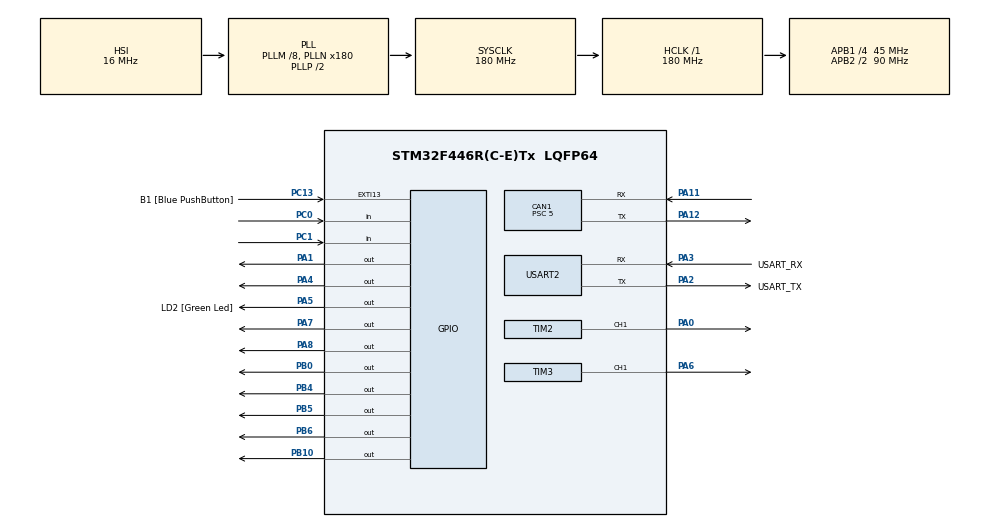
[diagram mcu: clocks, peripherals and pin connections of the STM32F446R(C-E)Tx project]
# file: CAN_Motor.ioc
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CAN1.BS1=CAN_BS1_15TQ
CAN1.BS2=CAN_BS2_2TQ
CAN1.CalculateBaudRate=500000
CAN1.CalculateTimeBit=2000
CAN1.CalculateTimeQuantum=111.11111111111111
CAN1.Mode=CAN_MODE_NORMAL
CAN1.NART=ENABLE
CAN1.Prescaler=5
FREERTOS.Queues01=EventQueue,8,uint8_t,0,Dynamic,NULL,NULL
FREERTOS.Tasks01=defaultTask,24,128,StartDefaultTask,Default,NULL,Dynamic,NULL,NULL;ConveyorTask,8,256,StartTask02,Default,NULL,Dynamic,NULL,NULL;EventTask,8,256,StartTask03,Default,NULL,Dynamic,NULL,NULL;MotorBTask,8,256,StartTask04,Default,NULL,Dynamic,NULL,NULL;MotorCTask,8,256,StartTask05,Default,NULL,Dynamic,NULL,NULL
FREERTOS.Timers01=TrashForwardTimer,TrashForwardTimerCallback,osTimerOnce,Default,NULL,Dynamic,NULL;TrashBackwardTimer,TrashBackwardTimerCallback,osTimerOnce,Default,NULL,Dynamic,NULL;CheckTimer,CheckTimerCallback,osTimerOnce,Default,NULL,Dynamic,NULL
Mcu.Family=STM32F4
Mcu.Name=STM32F446R(C-E)Tx
Mcu.Package=LQFP64
NVIC.CAN1_RX0_IRQn=true\:5\:0\:false\:false\:true\:true\:true\:true\:true
NVIC.PriorityGroup=NVIC_PRIORITYGROUP_4
PA0-WKUP.Signal=S_TIM2_CH1_ETR
PA1.Signal=GPIO_Output
PA11.Mode=CAN_Activate
PA11.Signal=CAN1_RX
PA12.Mode=CAN_Activate
PA12.Signal=CAN1_TX
PA13.GPIO_Label=TMS
PA13.Mode=Serial_Wire
PA13.Signal=SYS_JTMS-SWDIO
PA14.GPIO_Label=TCK
PA14.Mode=Serial_Wire
PA14.Signal=SYS_JTCK-SWCLK
PA2.GPIO_Label=USART_TX
PA2.Mode=Asynchronous
PA2.Signal=USART2_TX
PA3.GPIO_Label=USART_RX
PA3.Mode=Asynchronous
PA3.Signal=USART2_RX
PA4.Signal=GPIO_Output
PA5.GPIO_Label=LD2 [Green Led]
PA5.Signal=GPIO_Output
PA6.Signal=S_TIM3_CH1
PA7.Signal=GPIO_Output
PA8.Signal=GPIO_Output
PB0.Signal=GPIO_Output
PB10.Signal=GPIO_Output
PB3.GPIO_Label=SWO
PB3.Signal=SYS_JTDO-SWO
PB4.Signal=GPIO_Output
PB5.Signal=GPIO_Output
PB6.Signal=GPIO_Output
PC0.Signal=GPIO_Input
PC1.Signal=GPIO_Input
PC13.GPIO_Label=B1 [Blue PushButton]
PC13.GPIO_ModeDefaultEXTI=GPIO_MODE_IT_FALLING
PC13.Signal=GPXTI13
PC14-OSC32_IN.Mode=LSE-External-Oscillator
PC14-OSC32_IN.Signal=RCC_OSC32_IN
PC15-OSC32_OUT.Mode=LSE-External-Oscillator
PC15-OSC32_OUT.Signal=RCC_OSC32_OUT
PH0-OSC_IN.Mode=HSE-External-Oscillator
PH0-OSC_IN.Signal=RCC_OSC_IN
PH1-OSC_OUT.Mode=HSE-External-Oscillator
PH1-OSC_OUT.Signal=RCC_OSC_OUT
ProjectManager.HeapSize=0x200
ProjectManager.StackSize=0x400
ProjectManager.TargetToolchain=STM32CubeIDE
RCC.48MHZClocksFreq_Value=84000000
RCC.AHBFreq_Value=180000000
RCC.APB1CLKDivider=RCC_HCLK_DIV4
RCC.APB1Freq_Value=45000000
RCC.APB1TimFreq_Value=90000000
RCC.APB2CLKDivider=RCC_HCLK_DIV2
RCC.APB2Freq_Value=90000000
RCC.APB2TimFreq_Value=180000000
RCC.CortexFreq_Value=180000000
RCC.FLatency-AdvancedSettings=FLASH_LATENCY_5
RCC.HCLKFreq_Value=180000000
RCC.HSE_VALUE=8000000
RCC.HSI_VALUE=16000000
RCC.PLLM=8
RCC.PLLN=180
RCC.SYSCLKFreq_VALUE=180000000
RCC.SYSCLKSource=RCC_SYSCLKSOURCE_PLLCLK
RCC.USBFreq_Value=180000000
RCC.VCOOutputFreq_Value=360000000
SH.S_TIM2_CH1_ETR.0=TIM2_CH1,PWM Generation1 CH1
SH.S_TIM3_CH1.0=TIM3_CH1,PWM Generation1 CH1
TIM2.AutoReloadPreload=TIM_AUTORELOAD_PRELOAD_ENABLE
TIM2.Channel-PWM\ Generation1\ CH1=TIM_CHANNEL_1
TIM2.Period=19999
TIM2.Prescaler=89
TIM2.Pulse-PWM\ Generation1\ CH1=1500
TIM3.AutoReloadPreload=TIM_AUTORELOAD_PRELOAD_ENABLE
TIM3.Channel-PWM\ Generation1\ CH1=TIM_CHANNEL_1
TIM3.Period=999
TIM3.Prescaler=89
TIM3.Pulse-PWM\ Generation1\ CH1=0
USART2.VirtualMode=VM_ASYNC
VP_FREERTOS_VS_CMSIS_V2.Mode=CMSIS_V2
board=NUCLEO-F446RE

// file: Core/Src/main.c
/* USER CODE BEGIN Header */
/**
  ******************************************************************************
  * @file           : main.c
  * @brief          : Main program body
  ******************************************************************************
  * @attention
  *
  * Copyright (c) 2026 STMicroelectronics.
  * All rights reserved.
  *
  * This software is licensed under terms that can be found in the LICENSE file
  * in the root directory of this software component.
  * If no LICENSE file comes with this software, it is provided AS-IS.
  *
  ******************************************************************************
  */
/* USER CODE END Header */

#include "main.h"
#include "cmsis_os.h"
#include "can.h"
#include "tim.h"
#include "usart.h"
#include "gpio.h"

/* USER CODE BEGIN PD */

/*
 * CAN ID 정의
 */
#define CAN_CONTROL_ID              0x124

#define SendID 						0x123
#define SendData					0xAB

/*
 * CAN ID 0x124 안에서 사용하는 데이터 정의
 */
#define CAN_DATA_STOP_CONVEYOR      0xAA
#define CAN_DATA_RUN_MOTOR_A        0xAC
#define CAN_DATA_RESUME_CONVEYOR    0x01
#define CAN_DATA_START_MOTOR_B      0x02

/* USER CODE END PD */

/* USER CODE BEGIN PV */

CAN_RxHeaderTypeDef RxHeader;
uint8_t RxData[8];

/*
 * 기존 컨베이어 서보모터 정지 상태 플래그
 *
 * 0: 기존 컨베이어 서보모터 회전
 * 1: 기존 컨베이어 서보모터 정지
 *
 * CAN ID 0x124, Data[0] = 0xAA 수신 시 1
 * CAN ID 0x124, Data[0] = 0x01 수신 시 0
 */
volatile uint8_t g_conveyor_Stop = 0;

/*
 * 모터A 동작 요청 플래그
 *
 * PA8, PB10, PB4, PB5에 연결된 스텝모터이다.
 *
 * CAN ID 0x124, Data[0] = 0xAC 수신 시 1
 */
volatile uint8_t g_motorA_Command = 0;

/*
 * 모터A가 현재 동작 중인지 표시
 *
 * 동작 중일 때 0xAC가 다시 들어와도 무시하기 위해 사용한다.
 */
volatile uint8_t g_motorA_Busy = 0;

/*
 * 모터B 동작 요청 플래그
 *
 * CAN ID 0x124, Data[0] = 0x02 수신 시 1
 */
volatile uint8_t g_motorB_Command = 0;

/*
 * 모터B가 현재 동작 중인지 표시
 *
 * 동작 중일 때 0x02가 다시 들어와도 무시하기 위해 사용한다.
 */
volatile uint8_t g_motorB_Busy = 0;

/* USER CODE END PV */

void SystemClock_Config(void);
void MX_FREERTOS_Init(void);

/* USER CODE BEGIN PFP */

void CAN_Filter_Config(void);

void CAN_Send_StopAck(void);

/* USER CODE END PFP */

/* USER CODE BEGIN 0 */

void CAN_Send_StopAck(void)
{
    CAN_TxHeaderTypeDef TxHeader;
    uint8_t TxData[1];
    uint32_t TxMailbox;

    TxHeader.StdId = SendID;          // 0x123
    TxHeader.IDE = CAN_ID_STD;
    TxHeader.RTR = CAN_RTR_DATA;
    TxHeader.DLC = 1;
    TxHeader.TransmitGlobalTime = DISABLE;

    TxData[0] = SendData;             // 0xAB

    if (HAL_CAN_GetTxMailboxesFreeLevel(&hcan1) > 0)
    {
        HAL_CAN_AddTxMessage(&hcan1, &TxHeader, TxData, &TxMailbox);
    }
}

void CAN_Filter_Config(void)
{
    CAN_FilterTypeDef canFilter;

    canFilter.FilterBank = 0;
    canFilter.FilterMode = CAN_FILTERMODE_IDMASK;
    canFilter.FilterScale = CAN_FILTERSCALE_32BIT;

    /*
     * 현재 코드는 CAN ID 0x124만 통과시킨다.
     *
     * CAN ID 0x124 안의 RxData[0] 값으로
     * 0xAA, 0xAC, 0x01, 0x02 상황을 구분한다.
     */
    canFilter.FilterIdHigh = (CAN_CONTROL_ID << 5);
    canFilter.FilterIdLow = 0x0000;

    canFilter.FilterMaskIdHigh = (0x7FF << 5);
    canFilter.FilterMaskIdLow = 0x0000;

    canFilter.FilterFIFOAssignment = CAN_RX_FIFO0;
    canFilter.FilterActivation = ENABLE;
    canFilter.SlaveStartFilterBank = 14;

    if (HAL_CAN_ConfigFilter(&hcan1, &canFilter) != HAL_OK)
    {
        Error_Handler();
    }
}

void HAL_CAN_RxFifo0MsgPendingCallback(CAN_HandleTypeDef *hcan)
{
    if (hcan->Instance == CAN1)
    {
        if (HAL_CAN_GetRxMessage(hcan, CAN_RX_FIFO0, &RxHeader, RxData) == HAL_OK)
        {
            /*
             * CAN ID 0x124 수신
             *
             * Data[0] = 0xAA
             * → 기존 컨베이어 서보모터 정지
             *
             * Data[0] = 0xAC
             * → 모터A 스텝모터 동작
             *
             * Data[0] = 0x01
             * → 기존 컨베이어 서보모터 재가동
             *
             * Data[0] = 0x02
             * → 모터B DC모터 동작
             */
            if (RxHeader.StdId == CAN_CONTROL_ID)
            {
                if (RxData[0] == CAN_DATA_STOP_CONVEYOR)
                {
                    g_conveyor_Stop = 1;

                    /*
                     * 기존모터 정지 명령을 받았다는 것을
                     * CAN ID 0x123, Data[0] = 0xAB로 송신
                     */
                    CAN_Send_StopAck();
                }
                else if (RxData[0] == CAN_DATA_RUN_MOTOR_A)
                {
                    if ((g_motorA_Busy == 0) && (g_motorA_Command == 0))
                    {
                        g_motorA_Command = 1;
                    }
                }
                else if (RxData[0] == CAN_DATA_RESUME_CONVEYOR)
                {
                    g_conveyor_Stop = 0;
                }
                else if (RxData[0] == CAN_DATA_START_MOTOR_B)
                {
                    if ((g_motorB_Busy == 0) && (g_motorB_Command == 0))
                    {
                        g_motorB_Command = 1;
                    }
                }
            }
        }
    }
}

/* USER CODE END 0 */

int main(void)
{

  /* MCU Configuration--------------------------------------------------------*/

  HAL_Init();

  SystemClock_Config();

  MX_GPIO_Init();
  MX_USART2_UART_Init();
  MX_CAN1_Init();
  MX_TIM2_Init();
  MX_TIM3_Init();

  /* USER CODE BEGIN 2 */

  CAN_Filter_Config();

  if (HAL_CAN_Start(&hcan1) != HAL_OK)
  {
      Error_Handler();
  }

  if (HAL_CAN_ActivateNotification(&hcan1, CAN_IT_RX_FIFO0_MSG_PENDING) != HAL_OK)
  {
      Error_Handler();
  }

  /* USER CODE END 2 */

  osKernelInitialize();
  MX_FREERTOS_Init();

  osKernelStart();

  while (1)
  {
  }
}

void SystemClock_Config(void)
{
  RCC_OscInitTypeDef RCC_OscInitStruct = {0};
  RCC_ClkInitTypeDef RCC_ClkInitStruct = {0};

  __HAL_RCC_PWR_CLK_ENABLE();
  __HAL_PWR_VOLTAGESCALING_CONFIG(PWR_REGULATOR_VOLTAGE_SCALE1);

  RCC_OscInitStruct.OscillatorType = RCC_OSCILLATORTYPE_HSI;
  RCC_OscInitStruct.HSIState = RCC_HSI_ON;
  RCC_OscInitStruct.HSICalibrationValue = RCC_HSICALIBRATION_DEFAULT;
  RCC_OscInitStruct.PLL.PLLState = RCC_PLL_ON;
  RCC_OscInitStruct.PLL.PLLSource = RCC_PLLSOURCE_HSI;
  RCC_OscInitStruct.PLL.PLLM = 8;
  RCC_OscInitStruct.PLL.PLLN = 180;
  RCC_OscInitStruct.PLL.PLLP = RCC_PLLP_DIV2;
  RCC_OscInitStruct.PLL.PLLQ = 2;
  RCC_OscInitStruct.PLL.PLLR = 2;

  if (HAL_RCC_OscConfig(&RCC_OscInitStruct) != HAL_OK)
  {
    Error_Handler();
  }

  if (HAL_PWREx_EnableOverDrive() != HAL_OK)
  {
    Error_Handler();
  }

  RCC_ClkInitStruct.ClockType = RCC_CLOCKTYPE_HCLK | RCC_CLOCKTYPE_SYSCLK
                              | RCC_CLOCKTYPE_PCLK1 | RCC_CLOCKTYPE_PCLK2;
  RCC_ClkInitStruct.SYSCLKSource = RCC_SYSCLKSOURCE_PLLCLK;
  RCC_ClkInitStruct.AHBCLKDivider = RCC_SYSCLK_DIV1;
  RCC_ClkInitStruct.APB1CLKDivider = RCC_HCLK_DIV4;
  RCC_ClkInitStruct.APB2CLKDivider = RCC_HCLK_DIV2;

  if (HAL_RCC_ClockConfig(&RCC_ClkInitStruct, FLASH_LATENCY_5) != HAL_OK)
  {
    Error_Handler();
  }
}

void Error_Handler(void)
{
  __disable_irq();
  while (1)
  {
  }
}

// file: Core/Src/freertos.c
/* USER CODE BEGIN Header */
/**
  ******************************************************************************
  * File Name          : freertos.c
  * Description        : Code for FreeRTOS applications
  ******************************************************************************
  * @attention
  *
  * Copyright (c) 2026 STMicroelectronics.
  * All rights reserved.
  *
  * This software is licensed under terms that can be found in the LICENSE file
  * in the root directory of this software component.
  * If no LICENSE file comes with this software, it is provided AS-IS.
  *
  ******************************************************************************
  */
/* USER CODE END Header */

#include "FreeRTOS.h"
#include "task.h"
#include "main.h"
#include "cmsis_os.h"

/* USER CODE BEGIN Includes */
#include "can.h"
#include "tim.h"
/* USER CODE END Includes */

/* USER CODE BEGIN PTD */

typedef enum
{
    MOTOR_DIR_FORWARD = 0,
    MOTOR_DIR_BACKWARD
} MotorDirection;

/* USER CODE END PTD */

/* USER CODE BEGIN PD */

/*
 * 기존 컨베이어 서보모터 설정
 *
 * 연결:
 * PA0 = TIM2_CH1 = Servo Signal
 *
 * CubeMX TIM2 설정:
 * Prescaler      = 89
 * Counter Period = 19999
 * Pulse          = 1500
 *
 * 현재 APB1 Timer Clock = 90MHz 기준:
 * 90MHz / (89 + 1) = 1MHz
 * 1 tick = 1us
 *
 * Counter Period = 19999
 * 20000us = 20ms
 * PWM 주파수 = 50Hz
 *
 * 개조한 180도 서보를 연속회전 서보처럼 사용하는 방식:
 * 1500us 근처 = 정지
 * 2000us      = 한쪽 방향 회전
 * 1000us      = 반대 방향 회전
 */
#define CONVEYOR_SERVO_STOP_US      1520
#define CONVEYOR_SERVO_RUN_US       1900

/*
 * 모터A 45도 회전 설정
 *
 * 연결:
 * PA8  = IN1
 * PB10 = IN2
 * PB4  = IN3
 * PB5  = IN4
 *
 * 28BYJ-48 기준 대략값:
 * 4096 step = 360도
 * 512 step  = 45도
 * 1024 step = 90도
 */
#define MOTOR_A_45DEG_STEPS         512
#define MOTOR_A_STEP_DELAY_MS       1
#define MOTOR_A_HOLD_TIME_MS        2000

/*
 * 모터B DC모터 설정
 *
 * 연결:
 * PA6 = TIM3_CH1 = PWM
 * PA7 = IN1
 * PB6 = IN2
 *
 * CubeMX TIM3 설정:
 * Prescaler      = 89
 * Counter Period = 999
 *
 * TIM3도 APB1 Timer이고 현재 APB1 Timer Clock = 90MHz.
 * 90MHz / (89 + 1) = 1MHz
 * 1MHz / (999 + 1) = 1kHz
 *
 * PWM 값 범위:
 * 0 ~ 999
 */
#define MOTOR_B_PWM_STOP            0
#define MOTOR_B_PWM_RUN             700
#define MOTOR_B_RUN_TIME_MS         3000

/* USER CODE END PD */

/* USER CODE BEGIN Variables */

/*
 * main.c에 있는 전역 변수들을 가져와서 사용한다.
 */
extern volatile uint8_t g_conveyor_Stop;

extern volatile uint8_t g_motorA_Command;
extern volatile uint8_t g_motorA_Busy;

extern volatile uint8_t g_motorB_Command;
extern volatile uint8_t g_motorB_Busy;

/* USER CODE END Variables */

/* Definitions for defaultTask */
osThreadId_t defaultTaskHandle;
const osThreadAttr_t defaultTask_attributes = {
  .name = "defaultTask",
  .stack_size = 128 * 4,
  .priority = (osPriority_t) osPriorityNormal,
};

/* Definitions for ConveyorTask */
osThreadId_t ConveyorTaskHandle;
const osThreadAttr_t ConveyorTask_attributes = {
  .name = "ConveyorTask",
  .stack_size = 256 * 4,
  .priority = (osPriority_t) osPriorityLow,
};

/* Definitions for EventTask */
osThreadId_t EventTaskHandle;
const osThreadAttr_t EventTask_attributes = {
  .name = "EventTask",
  .stack_size = 256 * 4,
  .priority = (osPriority_t) osPriorityLow,
};

/* Definitions for MotorBTask */
osThreadId_t MotorBTaskHandle;
const osThreadAttr_t MotorBTask_attributes = {
  .name = "MotorBTask",
  .stack_size = 256 * 4,
  .priority = (osPriority_t) osPriorityLow,
};

/* Definitions for MotorCTask */
osThreadId_t MotorCTaskHandle;
const osThreadAttr_t MotorCTask_attributes = {
  .name = "MotorCTask",
  .stack_size = 256 * 4,
  .priority = (osPriority_t) osPriorityLow,
};

/* Definitions for EventQueue */
osMessageQueueId_t EventQueueHandle;
const osMessageQueueAttr_t EventQueue_attributes = {
  .name = "EventQueue"
};

/* Definitions for TrashForwardTimer */
osTimerId_t TrashForwardTimerHandle;
const osTimerAttr_t TrashForwardTimer_attributes = {
  .name = "TrashForwardTimer"
};

/* Definitions for TrashBackwardTimer */
osTimerId_t TrashBackwardTimerHandle;
const osTimerAttr_t TrashBackwardTimer_attributes = {
  .name = "TrashBackwardTimer"
};

/* Definitions for CheckTimer */
osTimerId_t CheckTimerHandle;
const osTimerAttr_t CheckTimer_attributes = {
  .name = "CheckTimer"
};

/* USER CODE BEGIN FunctionPrototypes */

/*
 * 기존 컨베이어 서보모터 함수
 */
void Conveyor_SetServoPulse(uint16_t pulse_us);
void Conveyor_Run(void);
void Conveyor_Stop(void);

/*
 * 모터A 스텝모터 함수
 */
void MotorA_Write(uint8_t in1, uint8_t in2, uint8_t in3, uint8_t in4);
void MotorA_Step(uint8_t stepIndex);
void MotorA_RotateSteps(uint16_t steps, MotorDirection direction, uint32_t delayMs);

/*
 * 모터B DC모터 함수
 */
void MotorB_SetPWM(uint16_t pwm);
void MotorB_DC_Start(void);
void MotorB_DC_Stop(void);

/* USER CODE END FunctionPrototypes */

void StartDefaultTask(void *argument);
void StartTask02(void *argument);
void StartTask03(void *argument);
void StartTask04(void *argument);
void StartTask05(void *argument);
void TrashForwardTimerCallback(void *argument);
void TrashBackwardTimerCallback(void *argument);
void CheckTimerCallback(void *argument);

void MX_FREERTOS_Init(void);

void MX_FREERTOS_Init(void)
{

  /* Create the timer(s) */
  TrashForwardTimerHandle = osTimerNew(TrashForwardTimerCallback, osTimerOnce, NULL, &TrashForwardTimer_attributes);

  TrashBackwardTimerHandle = osTimerNew(TrashBackwardTimerCallback, osTimerOnce, NULL, &TrashBackwardTimer_attributes);

  CheckTimerHandle = osTimerNew(CheckTimerCallback, osTimerOnce, NULL, &CheckTimer_attributes);

  /* Create the queue(s) */
  EventQueueHandle = osMessageQueueNew(8, sizeof(uint8_t), &EventQueue_attributes);

  /* Create the thread(s) */
  defaultTaskHandle = osThreadNew(StartDefaultTask, NULL, &defaultTask_attributes);

  ConveyorTaskHandle = osThreadNew(StartTask02, NULL, &ConveyorTask_attributes);

  EventTaskHandle = osThreadNew(StartTask03, NULL, &EventTask_attributes);

  MotorBTaskHandle = osThreadNew(StartTask04, NULL, &MotorBTask_attributes);

  MotorCTaskHandle = osThreadNew(StartTask05, NULL, &MotorCTask_attributes);

}

void StartDefaultTask(void *argument)
{
  /* USER CODE BEGIN StartDefaultTask */

  /*
   * 현재 defaultTask는 특별한 동작 없이 유지한다.
   * 기존에 있던 CAN ID 0x126 송신 코드는 제거된 상태이다.
   */

  for (;;)
  {
    osDelay(1000);
  }

  /* USER CODE END StartDefaultTask */
}

void StartTask02(void *argument)
{
  /* USER CODE BEGIN StartTask02 */

  /*
   * 기존 컨베이어 서보모터 담당 Task
   *
   * 연결:
   * PA0 = TIM2_CH1 = Servo Signal
   *
   * 요구사항:
   * 1. 보드 시작 시 기존 서보모터는 계속 회전
   * 2. CAN ID 0x124, Data[0] = 0xAA 수신 시 계속 정지
   * 3. CAN ID 0x124, Data[0] = 0x01 수신 시 다시 회전
   */

  uint8_t lastStopState = 255;

  /*
   * 기존 서보모터 PWM 시작
   */
  HAL_TIM_PWM_Start(&htim2, TIM_CHANNEL_1);

  Conveyor_Stop();
  osDelay(500);

  /*
   * 보드 시작 시 기존 서보모터는 계속 회전
   */
  g_conveyor_Stop = 0;
  Conveyor_Run();
  lastStopState = 0;

  for (;;)
  {
    /*
     * 이전 상태와 현재 상태가 달라졌을 때만
     * Run/Stop 처리를 한다.
     */
    if (g_conveyor_Stop != lastStopState)
    {
      lastStopState = g_conveyor_Stop;

      if (g_conveyor_Stop == 1)
      {
        Conveyor_Stop();
      }
      else
      {
        Conveyor_Run();
      }
    }

    osDelay(10);
  }

  /* USER CODE END StartTask02 */
}

void StartTask03(void *argument)
{
  /* USER CODE BEGIN StartTask03 */

  /*
   * 현재 EventTask는 사용하지 않는다.
   */

  for (;;)
  {
    osDelay(1000);
  }

  /* USER CODE END StartTask03 */
}

void StartTask04(void *argument)
{
  /* USER CODE BEGIN StartTask04 */

  /*
   * 모터B DC모터 담당 Task
   *
   * 연결:
   * PA6 = TIM3_CH1 = PWM
   * PA7 = IN1
   * PB6 = IN2
   *
   * CAN ID 0x124, Data[0] = 0x02 수신 시:
   * 모터B가 5초 동안 회전 후 정지한다.
   */

  /*
   * 모터B PWM 시작
   */
  HAL_TIM_PWM_Start(&htim3, TIM_CHANNEL_1);

  MotorB_DC_Stop();

  for (;;)
  {
    if (g_motorB_Command == 1)
    {
      g_motorB_Command = 0;
      g_motorB_Busy = 1;

      MotorB_DC_Start();

      osDelay(MOTOR_B_RUN_TIME_MS);

      MotorB_DC_Stop();

      g_motorB_Busy = 0;
    }

    osDelay(10);
  }

  /* USER CODE END StartTask04 */
}

void StartTask05(void *argument)
{
  /* USER CODE BEGIN StartTask05 */

  /*
   * 모터A 스텝모터 담당 Task
   *
   * 연결:
   * PA8  = IN1
   * PB10 = IN2
   * PB4  = IN3
   * PB5  = IN4
   *
   * CAN ID 0x124, Data[0] = 0xAC 수신 시:
   * 1. 정방향 회전
   * 2. 2초 정지
   * 3. 역방향 회전해서 원위치 복귀
   */

  MotorA_Write(0, 0, 0, 0);

  for (;;)
  {
    if (g_motorA_Command == 1)
    {
      g_motorA_Command = 0;
      g_motorA_Busy = 1;

      MotorA_RotateSteps(MOTOR_A_45DEG_STEPS, MOTOR_DIR_FORWARD, MOTOR_A_STEP_DELAY_MS);

      osDelay(MOTOR_A_HOLD_TIME_MS);

      MotorA_RotateSteps(MOTOR_A_45DEG_STEPS, MOTOR_DIR_BACKWARD, MOTOR_A_STEP_DELAY_MS);

      MotorA_Write(0, 0, 0, 0);

      g_motorA_Busy = 0;
    }

    osDelay(1);
  }

  /* USER CODE END StartTask05 */
}

/* TrashForwardTimerCallback function */
void TrashForwardTimerCallback(void *argument)
{
}

/* TrashBackwardTimerCallback function */
void TrashBackwardTimerCallback(void *argument)
{
}

/* CheckTimerCallback function */
void CheckTimerCallback(void *argument)
{
}

/* USER CODE BEGIN Application */

/*
 * 기존 컨베이어 서보모터 PWM 펄스 설정
 *
 * 연결:
 * PA0 = TIM2_CH1 = Servo Signal
 *
 * TIM2 설정:
 * Prescaler      = 89
 * Counter Period = 19999
 *
 * 따라서 CCR 값 1500은 1500us, 즉 1.5ms 펄스를 의미한다.
 */
void Conveyor_SetServoPulse(uint16_t pulse_us)
{
  /*
   * 개조 서보/연속회전 서보는 보통 1000~2000us 범위에서 사용한다.
   */
  if (pulse_us < 1000)
  {
    pulse_us = 1000;
  }

  if (pulse_us > 2000)
  {
    pulse_us = 2000;
  }

  __HAL_TIM_SET_COMPARE(&htim2, TIM_CHANNEL_1, pulse_us);
}

/*
 * 기존 컨베이어 서보모터 회전
 *
 * 개조한 180도 서보를 연속회전 서보처럼 사용하는 방식.
 * 보통 1500보다 크면 한 방향으로 회전한다.
 */
void Conveyor_Run(void)
{
	  Conveyor_SetServoPulse(CONVEYOR_SERVO_RUN_US);
	  HAL_TIM_PWM_Start(&htim2, TIM_CHANNEL_1);
  //Conveyor_SetServoPulse(CONVEYOR_SERVO_RUN_US);
}

/*
 * 기존 컨베이어 서보모터 정지
 *
 * 보통 1500us 근처가 정지이다.
 * 개조 상태에 따라 완전 정지값이 1500에서 조금 벗어날 수 있다.
 */
void Conveyor_Stop(void)
{
	HAL_TIM_PWM_Stop(&htim2, TIM_CHANNEL_1);
	HAL_GPIO_WritePin(GPIOA, GPIO_PIN_0, GPIO_PIN_RESET);
  //Conveyor_SetServoPulse(CONVEYOR_SERVO_STOP_US);
}

/*
 * 모터A 출력
 *
 * 연결:
 * PA8  = IN1
 * PB10 = IN2
 * PB4  = IN3
 * PB5  = IN4
 */
void MotorA_Write(uint8_t in1, uint8_t in2, uint8_t in3, uint8_t in4)
{
  HAL_GPIO_WritePin(GPIOA, GPIO_PIN_8,  in1 ? GPIO_PIN_SET : GPIO_PIN_RESET);
  HAL_GPIO_WritePin(GPIOB, GPIO_PIN_10, in2 ? GPIO_PIN_SET : GPIO_PIN_RESET);
  HAL_GPIO_WritePin(GPIOB, GPIO_PIN_4,  in3 ? GPIO_PIN_SET : GPIO_PIN_RESET);
  HAL_GPIO_WritePin(GPIOB, GPIO_PIN_5,  in4 ? GPIO_PIN_SET : GPIO_PIN_RESET);
}

/*
 * 모터A의 한 스텝 출력
 */
void MotorA_Step(uint8_t stepIndex)
{
  switch (stepIndex)
  {
    case 0:
      MotorA_Write(1, 0, 0, 0);
      break;

    case 1:
      MotorA_Write(1, 1, 0, 0);
      break;

    case 2:
      MotorA_Write(0, 1, 0, 0);
      break;

    case 3:
      MotorA_Write(0, 1, 1, 0);
      break;

    case 4:
      MotorA_Write(0, 0, 1, 0);
      break;

    case 5:
      MotorA_Write(0, 0, 1, 1);
      break;

    case 6:
      MotorA_Write(0, 0, 0, 1);
      break;

    case 7:
      MotorA_Write(1, 0, 0, 1);
      break;

    default:
      MotorA_Write(0, 0, 0, 0);
      break;
  }
}

/*
 * 모터A를 원하는 스텝 수만큼 회전
 */
void MotorA_RotateSteps(uint16_t steps, MotorDirection direction, uint32_t delayMs)
{
  uint16_t i;

  for (i = 0; i < steps; i++)
  {
    uint8_t stepIndex;

    if (direction == MOTOR_DIR_FORWARD)
    {
      stepIndex = i % 8;
    }
    else
    {
      stepIndex = 7 - (i % 8);
    }

    MotorA_Step(stepIndex);
    osDelay(delayMs);
  }
}

/*
 * 모터B DC모터 PWM 설정
 *
 * 연결:
 * PA6 = TIM3_CH1 = PWM
 * PA7 = IN1
 * PB6 = IN2
 */
void MotorB_SetPWM(uint16_t pwm)
{
  if (pwm > 999)
  {
    pwm = 999;
  }

  __HAL_TIM_SET_COMPARE(&htim3, TIM_CHANNEL_1, pwm);
}

/*
 * 모터B DC모터 시작
 *
 * IN1 = 1
 * IN2 = 0
 * PWM = MOTOR_B_PWM_RUN
 */
void MotorB_DC_Start(void)
{
  HAL_GPIO_WritePin(GPIOA, GPIO_PIN_7, GPIO_PIN_SET);
  HAL_GPIO_WritePin(GPIOB, GPIO_PIN_6, GPIO_PIN_RESET);

  MotorB_SetPWM(MOTOR_B_PWM_RUN);
}

/*
 * 모터B DC모터 정지
 *
 * IN1 = 0
 * IN2 = 0
 * PWM = 0
 */
void MotorB_DC_Stop(void)
{
  MotorB_SetPWM(MOTOR_B_PWM_STOP);

  HAL_GPIO_WritePin(GPIOA, GPIO_PIN_7, GPIO_PIN_RESET);
  HAL_GPIO_WritePin(GPIOB, GPIO_PIN_6, GPIO_PIN_RESET);
}

/* USER CODE END Application */
